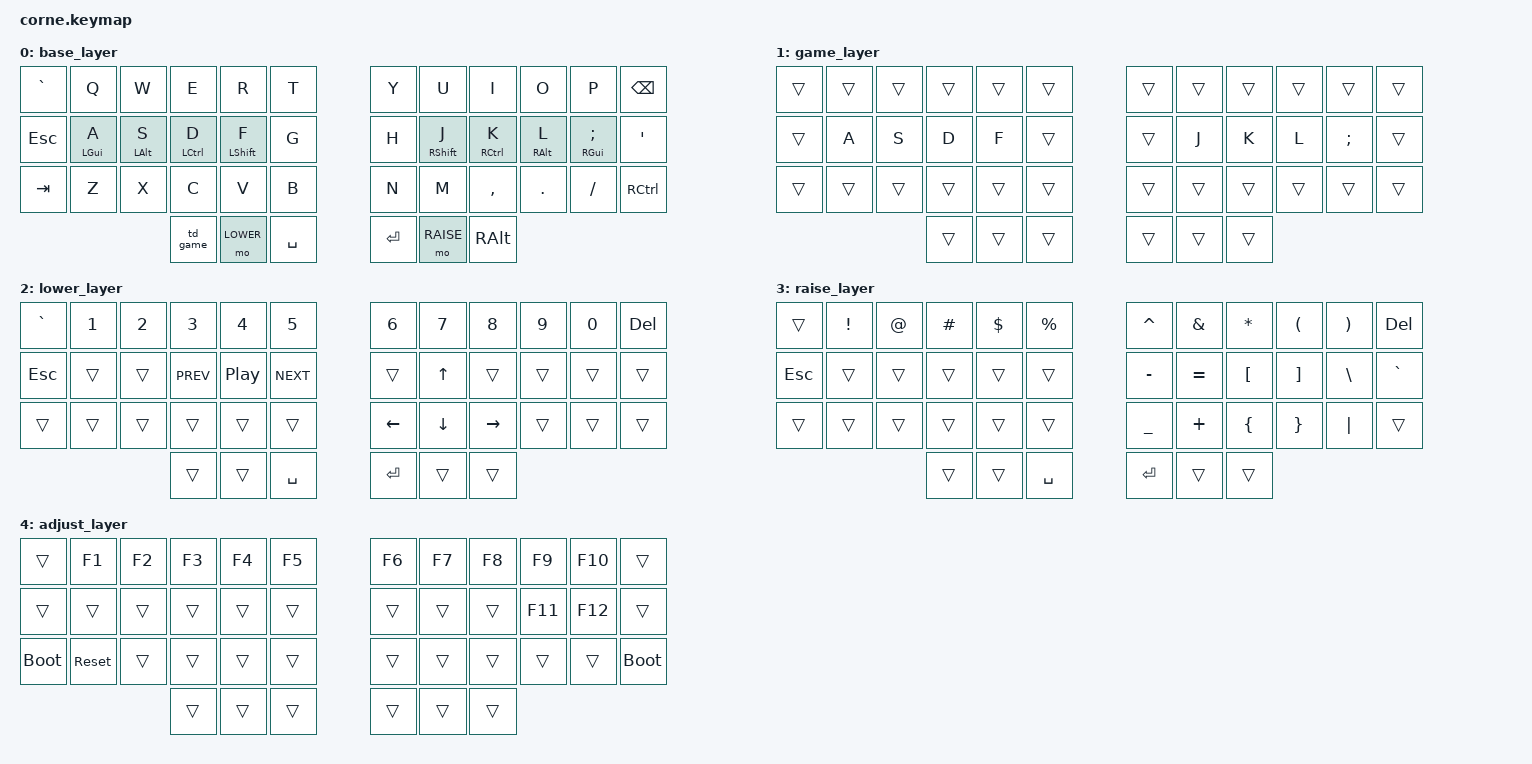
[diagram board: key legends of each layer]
/*
 * Copyright (c) 2020 The ZMK Contributors
 *
 * SPDX-License-Identifier: MIT
 */

#include <behaviors.dtsi>
#include <dt-bindings/zmk/keys.h>
#include <dt-bindings/zmk/bt.h>

&foostan_corne_5col_layout { status = "disabled"; };

#define KEYS_L 0 1 2 3 4 5 12 13 14 15 16 17 24 25 26 27 28 29
#define KEYS_R 6 7 8 9 10 11 18 19 20 21 22 23 30 31 32 33 34 35
#define THUMBS 36 37 38 39 40 41

#define GAME 1
#define LOWER 2
#define RAISE 3
#define ADJUST 4

/ {
        behaviors {
                hml: homerow_mods_left {
                        compatible = "zmk,behavior-hold-tap";
                        #binding-cells = <2>;
                        flavor = "balanced";
                        tapping-term-ms = <200>;
                        quick-tap-ms = <150>;
                        require-prior-idle-ms = <150>;
                        bindings = <&kp>, <&kp>;
                        hold-trigger-key-positions = <KEYS_R THUMBS>;
                        hold-trigger-on-release;
                };

                hmr: homerow_mods_right {
                        compatible = "zmk,behavior-hold-tap";
                        #binding-cells = <2>;
                        flavor = "balanced";
                        tapping-term-ms = <200>;
                        quick-tap-ms = <150>;
                        require-prior-idle-ms = <150>;
                        bindings = <&kp>, <&kp>;
                        hold-trigger-key-positions = <KEYS_L THUMBS>;
                        hold-trigger-on-release;
                };

                td_game: tap_dance_game {
                        compatible = "zmk,behavior-tap-dance";
                        #binding-cells = <0>;
                        tapping-term-ms = <200>;
                        bindings = <&kp LGUI>, <&tog GAME>;
                };
        };

        conditional_layers {
                compatible = "zmk,conditional-layers";

                tri_layer {
                        if-layers = <LOWER RAISE>;
                        then-layer = <ADJUST>;
                };
        };

        keymap {
                compatible = "zmk,keymap";

                base_layer {
// -----------------------------------------------------------------------------------------
// |  `   |  Q  |  W  |  E  |  R  |  T  |   |  Y  |  U  |  I  |  O  |  P  | BSPC |
// |  ESC | A/G | S/A | D/C | F/S |  G  |   |  H  | J/S | K/C | L/A | ;/G |  '   |
// |  TAB |  Z  |  X  |  C  |  V  |  B  |   |  N  |  M  |  ,  |  .  |  /  | CTRL |
//                    | GUI | LWR | SPC |   | ENT | RSE | ALT |
// GUI double tap toggles the game layer.
                                bindings = <
   &kp GRAVE &kp Q       &kp W       &kp E        &kp R        &kp T          &kp Y   &kp U        &kp I        &kp O       &kp P          &kp BSPC
   &kp ESC   &hml LGUI A &hml LALT S &hml LCTRL D &hml LSHFT F &kp G          &kp H   &hmr RSHFT J &hmr RCTRL K &hmr RALT L &hmr RGUI SEMI &kp SQT
   &kp TAB   &kp Z       &kp X       &kp C        &kp V        &kp B          &kp N   &kp M        &kp COMMA    &kp DOT     &kp FSLH       &kp RCTRL
                         &td_game    &mo LOWER    &kp SPACE      &kp RET &mo RAISE &kp RALT
                                >;
                        };

                        game_layer {
// -----------------------------------------------------------------------------------------
// |      |     |     |     |     |     |   |     |     |     |     |     |      |
// |      |  A  |  S  |  D  |  F  |     |   |     |  J  |  K  |  L  |  ;  |      |
// |      |     |     |     |     |     |   |     |     |     |     |     |      |
//                    |     |     |     |   |     |     |     |
                                bindings = <
   &trans &trans &trans &trans &trans &trans   &trans &trans &trans &trans &trans   &trans
   &trans &kp A  &kp S  &kp D  &kp F  &trans   &trans &kp J  &kp K  &kp L  &kp SEMI &trans
   &trans &trans &trans &trans &trans &trans   &trans &trans &trans &trans &trans   &trans
                 &trans &trans &trans          &trans &trans &trans
                                >;
                        };

                        lower_layer {
// -----------------------------------------------------------------------------------------
// |  `   |  1  |  2  |  3  |  4  |  5  |   |  6  |  7  |  8  |  9  |  0  | DEL  |
// | ESC  |     |     | PREV| PP  | NEXT|   |     |  UP |     |     |     |      |
// |      |     |     |     |     |     |   | LFT | DWN | RGT |     |     |      |
//                    |     |     | SPC |   | ENT |     |     |
                                bindings = <
   &kp GRAVE &kp N1 &kp N2 &kp N3     &kp N4   &kp N5          &kp N6   &kp N7   &kp N8    &kp N9 &kp N0 &kp DEL
   &kp ESC   &trans &trans &kp C_PREV &kp C_PP &kp C_NEXT      &trans   &kp UP   &trans    &trans &trans &trans
   &trans    &trans &trans &trans     &trans   &trans          &kp LEFT &kp DOWN &kp RIGHT &trans &trans &trans
                          &trans &trans     &kp SPACE          &kp RET  &trans   &trans
                                >;
                        };

                        raise_layer {
// -----------------------------------------------------------------------------------------
// |      |  !  |  @  |  #  |  $  |  %  |   |  ^  |  &  |  *  |  (  |  )  | DEL  |
// | ESC  |     |     |     |     |     |   |  -  |  =  |  [  |  ]  |  \  |  `   |
// |      |     |     |     |     |     |   |  _  |  +  |  {  |  }  | "|" |      |
//                    |     |     | SPC |   | ENT |     |     |
                                bindings = <
   &trans    &kp EXCL &kp AT &kp HASH &kp DLLR &kp PRCNT   &kp CARET &kp AMPS  &kp ASTRK &kp LPAR &kp RPAR &kp DEL
   &kp ESC   &trans   &trans &trans   &trans   &trans      &kp MINUS &kp EQUAL &kp LBKT  &kp RBKT &kp BSLH &kp GRAVE
   &trans    &trans   &trans &trans   &trans   &trans      &kp UNDER &kp PLUS  &kp LBRC  &kp RBRC &kp PIPE &trans
                      &trans &trans   &kp SPACE            &kp RET   &trans    &trans
                                >;
                        };

                        adjust_layer {
// -----------------------------------------------------------------------------------------
// |      |  F1 |  F2 |  F3 |  F4 |  F5 |   |  F6 |  F7 |  F8 |  F9 | F10 |      |
// |      |     |     |     |     |     |   |     |     |     | F11 | F12 |      |
// | BOOT | RST |     |     |     |     |   |     |     |     |     |     | BOOT |
// |                    |   |   | SPC |   | ENT |   |   |
                                bindings = <
   &trans      &kp F1     &kp F2 &kp F3 &kp F4 &kp F5   &kp F6 &kp F7 &kp F8 &kp F9  &kp F10 &trans
   &trans      &trans     &trans &trans &trans &trans   &trans &trans &trans &kp F11 &kp F12 &trans
   &bootloader &sys_reset &trans &trans &trans &trans   &trans &trans &trans &trans  &trans  &bootloader
                          &trans &trans &trans   &trans &trans &trans
                                >;
                        };
        };
};
